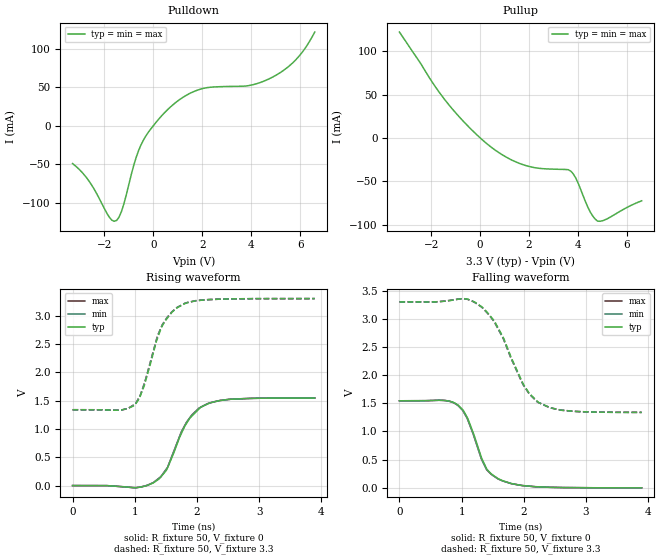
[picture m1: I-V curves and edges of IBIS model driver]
| IBIS file ex2_slowpre_tr20ps.ibs created by PYS2IBIS3
| Missouri S&T EMC Lab
[IBIS Ver] 7.1
[File Name] ex2_slowpre_tr20ps.ibs
[File Rev] 1.0
[Date] July 28, 2026
[Source] ex2 variant 'slowpre' -- predriver at half width
[Notes] Parameter selection; sim_time=3.894e-09, tr=tf=2.000e-11.
[Disclaimer] Experimental characterization for pybis observability study.
[Component] MCM Driver 1
[Manufacturer] MegaFLOPS Inc.
[Package]
| variable   typ   min   max
R_pkg 0 NA NA
L_pkg 0H NA NA
C_pkg 0F NA NA
[Pin]  signal_name   model_name   R_pin   L_pin   C_pin
vdd   vdd   POWER
gnd   gnd   GND
| in in dummy
out   out   driver
| End of Component
| Models and submodels in the file (1): driver (Output)
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[Model] driver
Model_type Output
Polarity Non-Inverting
Enable Active-Low
Vinl  = 0.8V
Vinh  = 2V
C_comp 5.0000pF 5.0000pF 5.0000pF
[Temperature Range] 27.0000 27.0000 27.0000
[Voltage Range] 3.3000V 3.3000V 3.3000V
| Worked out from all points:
|   slope of the pulldown table from 0 to 0.495 V, typ, clamps not added: 27.4 ohm
|   slope of the pullup table from 0 to 0.495 V, typ, clamps not added: 42.7 ohm
|   rising waveform, R_fixture 50, V_fixture 0: 20-80 % time 402ps typ, 389ps min, 389ps max; typ from 0 V to 1.54 V
|   rising waveform, R_fixture 50, V_fixture 3.3: 20-80 % time 348ps typ, 351ps min, 351ps max; typ from 1.34 V to 3.3 V
|   falling waveform, R_fixture 50, V_fixture 0: 20-80 % time 326ps typ, 325ps min, 325ps max; typ from 1.54 V to 0 V
|   falling waveform, R_fixture 50, V_fixture 3.3: 20-80 % time 503ps typ, 503ps min, 503ps max; typ from 3.3 V to 1.34 V
[Pulldown]
| Voltage   I(typ)   I(min)   I(max)
-3.3V     -48.93mA   -48.93mA   -48.93mA
-2.6V     -72.86mA   -72.86mA   -72.86mA
-1.8V     -118.2mA   -118.2mA   -118.2mA
-1.5V     -122.5mA   -122.5mA   -122.5mA
-1.3V     -110.9mA   -110.9mA   -110.9mA
-500mV    -24.59mA   -24.59mA   -24.59mA
600mV     21.34mA    21.34mA    21.34mA
1.9V      47.12mA    47.12mA    47.12mA
3.9V      51.99mA    51.99mA    51.99mA
4.9V      63.38mA    63.38mA    63.38mA
5.9V      87.99mA    87.99mA    87.99mA
6.6V      121.3mA    121.3mA    121.3mA
[Pullup]
| Voltage   I(typ)   I(min)   I(max)
-3.3V     122mA      122mA      122mA
-1.9V     61.75mA    61.75mA    61.75mA
-1.3V     38.86mA    38.86mA    38.86mA
-200mV    5.278mA    5.278mA    5.278mA
700mV     -15.75mA   -15.75mA   -15.75mA
2V        -32.92mA   -32.92mA   -32.92mA
3.7V      -38.24mA   -38.24mA   -38.24mA
3.9V      -45.89mA   -45.89mA   -45.89mA
4.5V      -85.43mA   -85.43mA   -85.43mA
4.8V      -95.97mA   -95.97mA   -95.97mA
5.1V      -94.48mA   -94.48mA   -94.48mA
6.6V      -72.53mA   -72.53mA   -72.53mA
[Ramp]
| variable   typ   min   max
dV/dt_r 0.9270/0.4023n 0.9270/0.3886n 0.9270/0.3886n
dV/dt_f 1.1766/0.5034n 1.1766/0.5027n 1.1766/0.5027n
R_load = 50
[Rising Waveform]
R_fixture = 50
V_fixture = 0
|time   V(typ)   V(min)   V(max)
0s        7.302nV    7.302nV    7.302nV
1.017ns   -37.49mV   -38.99mV   -38.99mV
1.29ns    42.31mV    47.7mV     47.7mV
1.508ns   268.1mV    291.7mV    291.7mV
1.746ns   912.9mV    942.1mV    942.1mV
1.832ns   1.099V     1.116V     1.116V
2.023ns   1.342V     1.359V     1.359V
2.175ns   1.444V     1.45V      1.45V
2.615ns   1.529V     1.529V     1.529V
3.894ns   1.545V     1.545V     1.545V
[Rising Waveform]
R_fixture = 50
V_fixture = 3.3
|time   V(typ)   V(min)   V(max)
0s        1.338V     1.338V     1.338V
732.8ps   1.33V      1.33V      1.33V
997.8ps   1.416V     1.434V     1.434V
1.091ns   1.589V     1.601V     1.601V
1.154ns   1.766V     1.801V     1.801V
1.36ns    2.584V     2.624V     2.624V
1.442ns   2.817V     2.837V     2.837V
1.598ns   3.06V      3.068V     3.068V
1.813ns   3.217V     3.222V     3.222V
3.894ns   3.3V       3.3V       3.3V
[Falling Waveform]
R_fixture = 50
V_fixture = 0
|time   V(typ)   V(min)   V(max)
0s        1.545V     1.545V     1.545V
721.1ps   1.551V     1.551V     1.551V
947.2ps   1.465V     1.455V     1.455V
1.017ns   1.385V     1.376V     1.376V
1.099ns   1.229V     1.206V     1.206V
1.314ns   547.6mV    523.3mV    523.3mV
1.403ns   334.5mV    320.6mV    320.6mV
1.653ns   128.6mV    124.8mV    124.8mV
2.136ns   23.06mV    23.07mV    23.07mV
3.894ns   104.3uV    103.9uV    103.9uV
[Falling Waveform]
R_fixture = 50
V_fixture = 3.3
|time   V(typ)   V(min)   V(max)
0s        3.3V       3.3V       3.3V
1.021ns   3.358V     3.358V     3.358V
1.325ns   3.212V     3.204V     3.204V
1.536ns   2.942V     2.926V     2.926V
1.676ns   2.655V     2.632V     2.632V
1.984ns   1.859V     1.839V     1.839V
2.078ns   1.694V     1.68V      1.68V
2.229ns   1.52V      1.516V     1.516V
2.405ns   1.432V     1.427V     1.427V
3.894ns   1.339V     1.339V     1.339V
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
